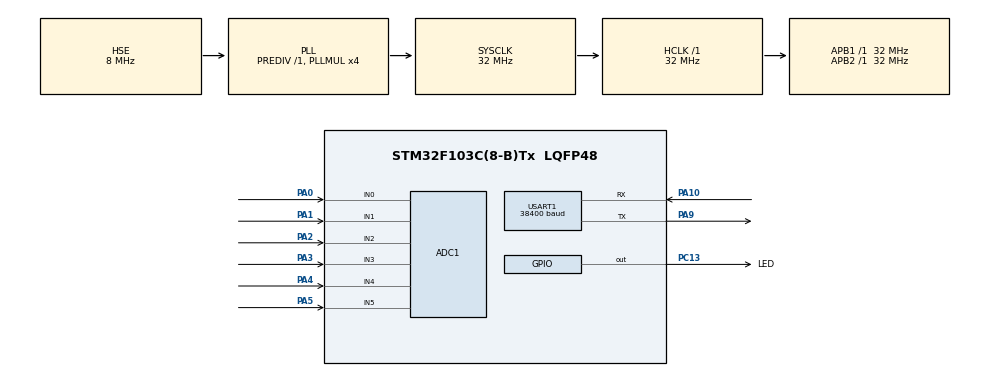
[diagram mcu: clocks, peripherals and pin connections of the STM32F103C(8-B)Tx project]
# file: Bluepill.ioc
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ADC1.Channel-0\#ChannelRegularConversion=ADC_CHANNEL_0
ADC1.Channel-4\#ChannelRegularConversion=ADC_CHANNEL_1
ADC1.Channel-5\#ChannelRegularConversion=ADC_CHANNEL_2
ADC1.Channel-6\#ChannelRegularConversion=ADC_CHANNEL_3
ADC1.Channel-7\#ChannelRegularConversion=ADC_CHANNEL_4
ADC1.Channel-8\#ChannelRegularConversion=ADC_CHANNEL_5
ADC1.ContinuousConvMode=ENABLE
ADC1.NbrOfConversion=6
ADC1.NbrOfConversionFlag=1
ADC1.Rank-4\#ChannelRegularConversion=2
ADC1.Rank-5\#ChannelRegularConversion=3
ADC1.Rank-6\#ChannelRegularConversion=4
ADC1.Rank-7\#ChannelRegularConversion=5
ADC1.Rank-8\#ChannelRegularConversion=6
ADC1.SamplingTime-0\#ChannelRegularConversion=ADC_SAMPLETIME_55CYCLES_5
ADC1.SamplingTime-4\#ChannelRegularConversion=ADC_SAMPLETIME_55CYCLES_5
ADC1.SamplingTime-5\#ChannelRegularConversion=ADC_SAMPLETIME_55CYCLES_5
ADC1.SamplingTime-6\#ChannelRegularConversion=ADC_SAMPLETIME_55CYCLES_5
ADC1.SamplingTime-7\#ChannelRegularConversion=ADC_SAMPLETIME_55CYCLES_5
ADC1.SamplingTime-8\#ChannelRegularConversion=ADC_SAMPLETIME_55CYCLES_5
ADC1.master=1
Dma.ADC1.0.Direction=DMA_PERIPH_TO_MEMORY
Dma.ADC1.0.Instance=DMA1_Channel1
Dma.ADC1.0.MemDataAlignment=DMA_MDATAALIGN_WORD
Dma.ADC1.0.MemInc=DMA_MINC_ENABLE
Dma.ADC1.0.Mode=DMA_CIRCULAR
Dma.ADC1.0.PeriphDataAlignment=DMA_PDATAALIGN_WORD
Dma.ADC1.0.PeriphInc=DMA_PINC_DISABLE
Dma.ADC1.0.Priority=DMA_PRIORITY_LOW
Dma.Request0=ADC1
Mcu.Family=STM32F1
Mcu.Name=STM32F103C(8-B)Tx
Mcu.Package=LQFP48
NVIC.DMA1_Channel1_IRQn=true\:0\:0\:false\:false\:true\:false\:true\:true
NVIC.PriorityGroup=NVIC_PRIORITYGROUP_4
PA0-WKUP.Signal=ADCx_IN0
PA1.Signal=ADCx_IN1
PA10.Mode=Asynchronous
PA10.Signal=USART1_RX
PA13.Mode=Serial_Wire
PA13.Signal=SYS_JTMS-SWDIO
PA14.Mode=Serial_Wire
PA14.Signal=SYS_JTCK-SWCLK
PA2.Signal=ADCx_IN2
PA3.Signal=ADCx_IN3
PA4.Signal=ADCx_IN4
PA5.Signal=ADCx_IN5
PA9.Mode=Asynchronous
PA9.Signal=USART1_TX
PC13-TAMPER-RTC.GPIO_Label=LED
PC13-TAMPER-RTC.Signal=GPIO_Output
PD0-OSC_IN.Mode=HSE-External-Oscillator
PD0-OSC_IN.Signal=RCC_OSC_IN
PD1-OSC_OUT.Mode=HSE-External-Oscillator
PD1-OSC_OUT.Signal=RCC_OSC_OUT
ProjectManager.HeapSize=0x200
ProjectManager.StackSize=0x400
ProjectManager.TargetToolchain=STM32CubeIDE
RCC.ADCPresc=RCC_ADCPCLK2_DIV4
RCC.AHBFreq_Value=32000000
RCC.APB1Freq_Value=32000000
RCC.APB1TimFreq_Value=32000000
RCC.APB2Freq_Value=32000000
RCC.APB2TimFreq_Value=32000000
RCC.HCLKFreq_Value=32000000
RCC.PLLMUL=RCC_PLL_MUL4
RCC.PLLSourceVirtual=RCC_PLLSOURCE_HSE
RCC.SYSCLKFreq_VALUE=32000000
RCC.SYSCLKSource=RCC_SYSCLKSOURCE_PLLCLK
RCC.USBFreq_Value=32000000
SH.ADCx_IN0.0=ADC1_IN0,IN0
SH.ADCx_IN1.0=ADC1_IN1,IN1
SH.ADCx_IN2.0=ADC1_IN2,IN2
SH.ADCx_IN3.0=ADC1_IN3,IN3
SH.ADCx_IN4.0=ADC1_IN4,IN4
SH.ADCx_IN5.0=ADC1_IN5,IN5
TIM3.TIM_MasterOutputTrigger=TIM_TRGO_UPDATE
USART1.BaudRate=38400
USART1.VirtualMode=VM_ASYNC
VP_TIM1_VS_ClockSourceINT.Mode=Internal
VP_TIM3_VS_ClockSourceINT.Mode=Internal
board=custom

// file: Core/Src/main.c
/* USER CODE BEGIN Header */
/**
  ******************************************************************************
  * @file           : main.c
  * @brief          : Main program body
  ******************************************************************************
  * @attention
  *
  * Copyright (c) 2022 STMicroelectronics.
  * All rights reserved.
  *
  * This software is licensed under terms that can be found in the LICENSE file
  * in the root directory of this software component.
  * If no LICENSE file comes with this software, it is provided AS-IS.
  *
  ******************************************************************************
  */
/* USER CODE END Header */
#include "main.h"

 ADC_HandleTypeDef hadc1;
DMA_HandleTypeDef hdma_adc1;

TIM_HandleTypeDef htim1;
TIM_HandleTypeDef htim3;

UART_HandleTypeDef huart1;

void SystemClock_Config(void);
static void MX_GPIO_Init(void);
static void MX_DMA_Init(void);
static void MX_ADC1_Init(void);
static void MX_USART1_UART_Init(void);
static void MX_TIM1_Init(void);
static void MX_TIM3_Init(void);

/* USER CODE BEGIN 0 */
uint32_t data[6];
uint32_t ADC_Buffer[6];

char IN1[16]="";
char IN2[16]="";
char IN3[16]="";
char IN4[16]="";

uint8_t message[100] = {'\0'};
uint8_t num = 0;

void HAL_ADC_ConvCpltCallback(ADC_HandleTypeDef* hadc){

		if(hadc->Instance == ADC1){
//			for(int i=0;i<3;i++){

				data[0] = ADC_Buffer[0];
				data[1] = ADC_Buffer[1];
				data[2] = ADC_Buffer[2];
				data[3] = ADC_Buffer[3];
				data[4] = ADC_Buffer[4];
				data[5] = ADC_Buffer[5];
//			}
		}
}
/* USER CODE END 0 */

int main(void)
{

  /* MCU Configuration--------------------------------------------------------*/

  /* Reset of all peripherals, Initializes the Flash interface and the Systick. */
  HAL_Init();

  /* Configure the system clock */
  SystemClock_Config();

  /* Initialize all configured peripherals */
  MX_GPIO_Init();
  MX_DMA_Init();
  MX_ADC1_Init();
  MX_USART1_UART_Init();
  MX_TIM1_Init();
  MX_TIM3_Init();
  /* USER CODE BEGIN 2 */
  //HAL_ADCEx_Calibration_Start(&hadc1);
  HAL_ADC_Start_DMA(&hadc1,ADC_Buffer, 6);
  /* USER CODE END 2 */

  /* Infinite loop */
  /* USER CODE BEGIN WHILE */
  while (1)
  {
	  sprintf(message, "xAdc0= %lu\t Adc1= %lu\t Adc2= %lu\t Adc3= %lu\t Adc4= %lu\t Adc5= %lu\t  \r\n", ADC_Buffer[0],ADC_Buffer[1], ADC_Buffer[2], ADC_Buffer[3],ADC_Buffer[4], ADC_Buffer[5]);
	  HAL_UART_Transmit(&huart1, message,sizeof(message), 100);
	  HAL_GPIO_TogglePin(LED_GPIO_Port, LED_Pin);  HAL_Delay(150);
    /* USER CODE END WHILE */

  }
}

void SystemClock_Config(void)
{
  RCC_OscInitTypeDef RCC_OscInitStruct = {0};
  RCC_ClkInitTypeDef RCC_ClkInitStruct = {0};
  RCC_PeriphCLKInitTypeDef PeriphClkInit = {0};

  /** Initializes the RCC Oscillators according to the specified parameters
  * in the RCC_OscInitTypeDef structure.
  */
  RCC_OscInitStruct.OscillatorType = RCC_OSCILLATORTYPE_HSE;
  RCC_OscInitStruct.HSEState = RCC_HSE_ON;
  RCC_OscInitStruct.HSEPredivValue = RCC_HSE_PREDIV_DIV1;
  RCC_OscInitStruct.HSIState = RCC_HSI_ON;
  RCC_OscInitStruct.PLL.PLLState = RCC_PLL_ON;
  RCC_OscInitStruct.PLL.PLLSource = RCC_PLLSOURCE_HSE;
  RCC_OscInitStruct.PLL.PLLMUL = RCC_PLL_MUL4;
  if (HAL_RCC_OscConfig(&RCC_OscInitStruct) != HAL_OK)
  {
    Error_Handler();
  }

  /** Initializes the CPU, AHB and APB buses clocks
  */
  RCC_ClkInitStruct.ClockType = RCC_CLOCKTYPE_HCLK|RCC_CLOCKTYPE_SYSCLK
                              |RCC_CLOCKTYPE_PCLK1|RCC_CLOCKTYPE_PCLK2;
  RCC_ClkInitStruct.SYSCLKSource = RCC_SYSCLKSOURCE_PLLCLK;
  RCC_ClkInitStruct.AHBCLKDivider = RCC_SYSCLK_DIV1;
  RCC_ClkInitStruct.APB1CLKDivider = RCC_HCLK_DIV1;
  RCC_ClkInitStruct.APB2CLKDivider = RCC_HCLK_DIV1;

  if (HAL_RCC_ClockConfig(&RCC_ClkInitStruct, FLASH_LATENCY_1) != HAL_OK)
  {
    Error_Handler();
  }
  PeriphClkInit.PeriphClockSelection = RCC_PERIPHCLK_ADC;
  PeriphClkInit.AdcClockSelection = RCC_ADCPCLK2_DIV4;
  if (HAL_RCCEx_PeriphCLKConfig(&PeriphClkInit) != HAL_OK)
  {
    Error_Handler();
  }
}

static void MX_ADC1_Init(void)
{

  ADC_ChannelConfTypeDef sConfig = {0};

  /** Common config
  */
  hadc1.Instance = ADC1;
  hadc1.Init.ScanConvMode = ADC_SCAN_ENABLE;
  hadc1.Init.ContinuousConvMode = ENABLE;
  hadc1.Init.DiscontinuousConvMode = DISABLE;
  hadc1.Init.ExternalTrigConv = ADC_SOFTWARE_START;
  hadc1.Init.DataAlign = ADC_DATAALIGN_RIGHT;
  hadc1.Init.NbrOfConversion = 6;
  if (HAL_ADC_Init(&hadc1) != HAL_OK)
  {
    Error_Handler();
  }

  /** Configure Regular Channel
  */
  sConfig.Channel = ADC_CHANNEL_0;
  sConfig.Rank = ADC_REGULAR_RANK_1;
  sConfig.SamplingTime = ADC_SAMPLETIME_55CYCLES_5;
  if (HAL_ADC_ConfigChannel(&hadc1, &sConfig) != HAL_OK)
  {
    Error_Handler();
  }

  /** Configure Regular Channel
  */
  sConfig.Channel = ADC_CHANNEL_1;
  sConfig.Rank = ADC_REGULAR_RANK_2;
  if (HAL_ADC_ConfigChannel(&hadc1, &sConfig) != HAL_OK)
  {
    Error_Handler();
  }

  /** Configure Regular Channel
  */
  sConfig.Channel = ADC_CHANNEL_2;
  sConfig.Rank = ADC_REGULAR_RANK_3;
  if (HAL_ADC_ConfigChannel(&hadc1, &sConfig) != HAL_OK)
  {
    Error_Handler();
  }

  /** Configure Regular Channel
  */
  sConfig.Channel = ADC_CHANNEL_3;
  sConfig.Rank = ADC_REGULAR_RANK_4;
  if (HAL_ADC_ConfigChannel(&hadc1, &sConfig) != HAL_OK)
  {
    Error_Handler();
  }

  /** Configure Regular Channel
  */
  sConfig.Channel = ADC_CHANNEL_4;
  sConfig.Rank = ADC_REGULAR_RANK_5;
  if (HAL_ADC_ConfigChannel(&hadc1, &sConfig) != HAL_OK)
  {
    Error_Handler();
  }

  /** Configure Regular Channel
  */
  sConfig.Channel = ADC_CHANNEL_5;
  sConfig.Rank = ADC_REGULAR_RANK_6;
  if (HAL_ADC_ConfigChannel(&hadc1, &sConfig) != HAL_OK)
  {
    Error_Handler();
  }

}

static void MX_TIM1_Init(void)
{

  TIM_ClockConfigTypeDef sClockSourceConfig = {0};
  TIM_MasterConfigTypeDef sMasterConfig = {0};

  htim1.Instance = TIM1;
  htim1.Init.Prescaler = 0;
  htim1.Init.CounterMode = TIM_COUNTERMODE_UP;
  htim1.Init.Period = 65535;
  htim1.Init.ClockDivision = TIM_CLOCKDIVISION_DIV1;
  htim1.Init.RepetitionCounter = 0;
  htim1.Init.AutoReloadPreload = TIM_AUTORELOAD_PRELOAD_DISABLE;
  if (HAL_TIM_Base_Init(&htim1) != HAL_OK)
  {
    Error_Handler();
  }
  sClockSourceConfig.ClockSource = TIM_CLOCKSOURCE_INTERNAL;
  if (HAL_TIM_ConfigClockSource(&htim1, &sClockSourceConfig) != HAL_OK)
  {
    Error_Handler();
  }
  sMasterConfig.MasterOutputTrigger = TIM_TRGO_RESET;
  sMasterConfig.MasterSlaveMode = TIM_MASTERSLAVEMODE_DISABLE;
  if (HAL_TIMEx_MasterConfigSynchronization(&htim1, &sMasterConfig) != HAL_OK)
  {
    Error_Handler();
  }

}

static void MX_TIM3_Init(void)
{

  TIM_ClockConfigTypeDef sClockSourceConfig = {0};
  TIM_MasterConfigTypeDef sMasterConfig = {0};

  htim3.Instance = TIM3;
  htim3.Init.Prescaler = 0;
  htim3.Init.CounterMode = TIM_COUNTERMODE_UP;
  htim3.Init.Period = 65535;
  htim3.Init.ClockDivision = TIM_CLOCKDIVISION_DIV1;
  htim3.Init.AutoReloadPreload = TIM_AUTORELOAD_PRELOAD_DISABLE;
  if (HAL_TIM_Base_Init(&htim3) != HAL_OK)
  {
    Error_Handler();
  }
  sClockSourceConfig.ClockSource = TIM_CLOCKSOURCE_INTERNAL;
  if (HAL_TIM_ConfigClockSource(&htim3, &sClockSourceConfig) != HAL_OK)
  {
    Error_Handler();
  }
  sMasterConfig.MasterOutputTrigger = TIM_TRGO_UPDATE;
  sMasterConfig.MasterSlaveMode = TIM_MASTERSLAVEMODE_DISABLE;
  if (HAL_TIMEx_MasterConfigSynchronization(&htim3, &sMasterConfig) != HAL_OK)
  {
    Error_Handler();
  }

}

static void MX_USART1_UART_Init(void)
{

  huart1.Instance = USART1;
  huart1.Init.BaudRate = 38400;
  huart1.Init.WordLength = UART_WORDLENGTH_8B;
  huart1.Init.StopBits = UART_STOPBITS_1;
  huart1.Init.Parity = UART_PARITY_NONE;
  huart1.Init.Mode = UART_MODE_TX_RX;
  huart1.Init.HwFlowCtl = UART_HWCONTROL_NONE;
  huart1.Init.OverSampling = UART_OVERSAMPLING_16;
  if (HAL_UART_Init(&huart1) != HAL_OK)
  {
    Error_Handler();
  }

}

static void MX_DMA_Init(void)
{

  /* DMA controller clock enable */
  __HAL_RCC_DMA1_CLK_ENABLE();

  /* DMA interrupt init */
  /* DMA1_Channel1_IRQn interrupt configuration */
  HAL_NVIC_SetPriority(DMA1_Channel1_IRQn, 0, 0);
  HAL_NVIC_EnableIRQ(DMA1_Channel1_IRQn);

}

static void MX_GPIO_Init(void)
{
  GPIO_InitTypeDef GPIO_InitStruct = {0};

  /* GPIO Ports Clock Enable */
  __HAL_RCC_GPIOC_CLK_ENABLE();
  __HAL_RCC_GPIOD_CLK_ENABLE();
  __HAL_RCC_GPIOA_CLK_ENABLE();

  /*Configure GPIO pin Output Level */
  HAL_GPIO_WritePin(LED_GPIO_Port, LED_Pin, GPIO_PIN_RESET);

  /*Configure GPIO pin : LED_Pin */
  GPIO_InitStruct.Pin = LED_Pin;
  GPIO_InitStruct.Mode = GPIO_MODE_OUTPUT_PP;
  GPIO_InitStruct.Pull = GPIO_NOPULL;
  GPIO_InitStruct.Speed = GPIO_SPEED_FREQ_LOW;
  HAL_GPIO_Init(LED_GPIO_Port, &GPIO_InitStruct);

}

void Error_Handler(void)
{
  /* USER CODE BEGIN Error_Handler_Debug */
  /* User can add his own implementation to report the HAL error return state */
 // __disable_irq();
  while (1)
  {
	  HAL_GPIO_TogglePin(LED_GPIO_Port, LED_Pin);  HAL_Delay(500);
  }
  /* USER CODE END Error_Handler_Debug */
}
